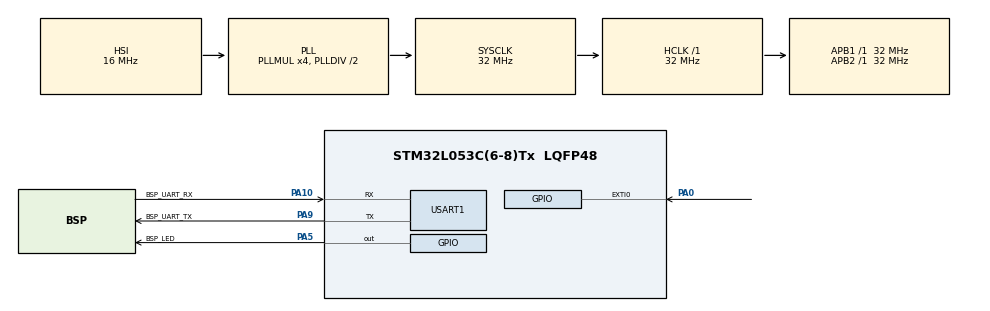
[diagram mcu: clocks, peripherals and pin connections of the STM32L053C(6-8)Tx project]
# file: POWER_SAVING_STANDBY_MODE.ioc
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Mcu.Family=STM32L0
Mcu.Name=STM32L053C(6-8)Tx
Mcu.Package=LQFP48
NVIC.USART1_IRQn=true\:0\:0\:false\:false\:true\:true\:true\:true
PA0.Signal=GPXTI0
PA10.GPIO_Label=BSP_UART_RX
PA10.Mode=Asynchronous
PA10.Signal=USART1_RX
PA13.Mode=Serial_Wire
PA13.Signal=SYS_SWDIO
PA14.Mode=Serial_Wire
PA14.Signal=SYS_SWCLK
PA5.GPIO_Label=BSP_LED
PA5.Signal=GPIO_Output
PA9.GPIO_Label=BSP_UART_TX
PA9.Mode=Asynchronous
PA9.Signal=USART1_TX
PH0-OSC_IN.Mode=HSE-External-Oscillator
PH0-OSC_IN.Signal=RCC_OSC_IN
PH1-OSC_OUT.Mode=HSE-External-Oscillator
PH1-OSC_OUT.Signal=RCC_OSC_OUT
ProjectManager.HeapSize=0x200
ProjectManager.StackSize=0x400
ProjectManager.TargetToolchain=STM32CubeIDE
RCC.AHBFreq_Value=32000000
RCC.APB1Freq_Value=32000000
RCC.APB1TimFreq_Value=32000000
RCC.APB2Freq_Value=32000000
RCC.APB2TimFreq_Value=32000000
RCC.HCLKFreq_Value=32000000
RCC.HSE_VALUE=8000000
RCC.HSI16_VALUE=16000000
RCC.HSI48MClockSelection=RCC_USBCLKSOURCE_HSI48
RCC.HSI48_VALUE=48000000
RCC.HSI_VALUE=16000000
RCC.LSE_VALUE=32768
RCC.MSI_VALUE=2097000
RCC.PLLMUL=RCC_PLLMUL_4
RCC.RTCClockSelectionVirtual=RCC_RTCCLKSOURCE_LSE
RCC.SYSCLKFreq_VALUE=32000000
RCC.SYSCLKSource=RCC_SYSCLKSOURCE_PLLCLK
RCC.VCOOutputFreq_Value=64000000
USART1.VirtualMode-Asynchronous=VM_ASYNC
board=STM32L0538-DISCO

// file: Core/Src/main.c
/* USER CODE BEGIN Header */
/**
 ******************************************************************************
 * @file           : main.c
 * @brief          : Main program body
 ******************************************************************************
 * @attention
 *
 * Copyright (c) 2023 STMicroelectronics.
 * All rights reserved.
 *
 * This software is licensed under terms that can be found in the LICENSE file
 * in the root directory of this software component.
 * If no LICENSE file comes with this software, it is provided AS-IS.
 *
 ******************************************************************************
 */
/* USER CODE END Header */
#include "main.h"

/* USER CODE BEGIN Includes */
#include <stdio.h>
#include <string.h>
/* USER CODE END Includes */

UART_HandleTypeDef huart1;

void SystemClock_Config(void);
static void MX_GPIO_Init(void);
static void MX_USART1_UART_Init(void);

int main(void) {

	/* MCU Configuration--------------------------------------------------------*/

	/* Reset of all peripherals, Initializes the Flash interface and the Systick. */
	HAL_Init();

	/* Configure the system clock */
	SystemClock_Config();

	/* Initialize all configured peripherals */
	MX_GPIO_Init();
	MX_USART1_UART_Init();
	/* USER CODE BEGIN 2 */
	if (__HAL_PWR_GET_FLAG(PWR_FLAG_SB) != RESET) {
		__HAL_PWR_CLEAR_FLAG(PWR_FLAG_SB);

		/** Display the message **/
		char *str = "Wake from the STANDBY MODE...\r\n";
		HAL_UART_Transmit(&huart1, (uint8_t*) str, strlen(str), HAL_MAX_DELAY);

		/** blink the LED **/
		for (int i = 0; i < 20; i++) {
			HAL_GPIO_TogglePin(BSP_LED_GPIO_Port, BSP_LED_Pin);
			HAL_Delay(100);
		}

		/** disable the wake up pin **/
		HAL_PWR_DisableWakeUpPin(PWR_WAKEUP_PIN1); //disable PA0
	}

	/** now enter the stand by mode **/
	/* clear the WU flag */
	__HAL_PWR_CLEAR_FLAG(PWR_FLAG_WU);

	/** Display the message **/
	char *str = "About to enter the STANDBY MODE...\r\n";
	HAL_UART_Transmit(&huart1, (uint8_t*) str, strlen(str), HAL_MAX_DELAY);
	/** blink the LED **/
	for (int i = 0; i < 20; i++) {
		HAL_GPIO_TogglePin(BSP_LED_GPIO_Port, BSP_LED_Pin);
		HAL_Delay(100);
	}
	/** Enable wake up pin **/
	HAL_PWR_EnableWakeUpPin(PWR_WAKEUP_PIN1);

	/** Display the message **/
	char *str2 = "STANDBY MODE is ON...\r\n";
	HAL_UART_Transmit(&huart1, (uint8_t*) str2, strlen(str2), HAL_MAX_DELAY);

	/** Finally enter the Stand by mode **/
	HAL_PWR_EnterSTANDBYMode();
	/* USER CODE END 2 */

	/* Infinite loop */
	while (1) {

	}
}

void SystemClock_Config(void) {
	RCC_OscInitTypeDef RCC_OscInitStruct = { 0 };
	RCC_ClkInitTypeDef RCC_ClkInitStruct = { 0 };
	RCC_PeriphCLKInitTypeDef PeriphClkInit = { 0 };

	/** Configure the main internal regulator output voltage
	 */
	__HAL_PWR_VOLTAGESCALING_CONFIG(PWR_REGULATOR_VOLTAGE_SCALE1);

	/** Initializes the RCC Oscillators according to the specified parameters
	 * in the RCC_OscInitTypeDef structure.
	 */
	RCC_OscInitStruct.OscillatorType = RCC_OSCILLATORTYPE_HSI;
	RCC_OscInitStruct.HSIState = RCC_HSI_ON;
	RCC_OscInitStruct.HSICalibrationValue = RCC_HSICALIBRATION_DEFAULT;
	RCC_OscInitStruct.PLL.PLLState = RCC_PLL_ON;
	RCC_OscInitStruct.PLL.PLLSource = RCC_PLLSOURCE_HSI;
	RCC_OscInitStruct.PLL.PLLMUL = RCC_PLLMUL_4;
	RCC_OscInitStruct.PLL.PLLDIV = RCC_PLLDIV_2;
	if (HAL_RCC_OscConfig(&RCC_OscInitStruct) != HAL_OK) {
		Error_Handler();
	}

	/** Initializes the CPU, AHB and APB buses clocks
	 */
	RCC_ClkInitStruct.ClockType = RCC_CLOCKTYPE_HCLK | RCC_CLOCKTYPE_SYSCLK
			| RCC_CLOCKTYPE_PCLK1 | RCC_CLOCKTYPE_PCLK2;
	RCC_ClkInitStruct.SYSCLKSource = RCC_SYSCLKSOURCE_PLLCLK;
	RCC_ClkInitStruct.AHBCLKDivider = RCC_SYSCLK_DIV1;
	RCC_ClkInitStruct.APB1CLKDivider = RCC_HCLK_DIV1;
	RCC_ClkInitStruct.APB2CLKDivider = RCC_HCLK_DIV1;

	if (HAL_RCC_ClockConfig(&RCC_ClkInitStruct, FLASH_LATENCY_1) != HAL_OK) {
		Error_Handler();
	}
	PeriphClkInit.PeriphClockSelection = RCC_PERIPHCLK_USART1;
	PeriphClkInit.Usart1ClockSelection = RCC_USART1CLKSOURCE_PCLK2;
	if (HAL_RCCEx_PeriphCLKConfig(&PeriphClkInit) != HAL_OK) {
		Error_Handler();
	}
}

static void MX_USART1_UART_Init(void) {

	huart1.Instance = USART1;
	huart1.Init.BaudRate = 115200;
	huart1.Init.WordLength = UART_WORDLENGTH_8B;
	huart1.Init.StopBits = UART_STOPBITS_1;
	huart1.Init.Parity = UART_PARITY_NONE;
	huart1.Init.Mode = UART_MODE_TX_RX;
	huart1.Init.HwFlowCtl = UART_HWCONTROL_NONE;
	huart1.Init.OverSampling = UART_OVERSAMPLING_16;
	huart1.Init.OneBitSampling = UART_ONE_BIT_SAMPLE_DISABLE;
	huart1.AdvancedInit.AdvFeatureInit = UART_ADVFEATURE_NO_INIT;
	if (HAL_UART_Init(&huart1) != HAL_OK) {
		Error_Handler();
	}

}

static void MX_GPIO_Init(void) {
	GPIO_InitTypeDef GPIO_InitStruct = { 0 };

	/* GPIO Ports Clock Enable */
	__HAL_RCC_GPIOH_CLK_ENABLE();
	__HAL_RCC_GPIOA_CLK_ENABLE();

	/*Configure GPIO pin Output Level */
	HAL_GPIO_WritePin(BSP_LED_GPIO_Port, BSP_LED_Pin, GPIO_PIN_RESET);

	/*Configure GPIO pin : PA0 */
	GPIO_InitStruct.Pin = GPIO_PIN_0;
	GPIO_InitStruct.Mode = GPIO_MODE_IT_RISING;
	GPIO_InitStruct.Pull = GPIO_NOPULL;
	HAL_GPIO_Init(GPIOA, &GPIO_InitStruct);

	/*Configure GPIO pin : BSP_LED_Pin */
	GPIO_InitStruct.Pin = BSP_LED_Pin;
	GPIO_InitStruct.Mode = GPIO_MODE_OUTPUT_PP;
	GPIO_InitStruct.Pull = GPIO_NOPULL;
	GPIO_InitStruct.Speed = GPIO_SPEED_FREQ_LOW;
	HAL_GPIO_Init(BSP_LED_GPIO_Port, &GPIO_InitStruct);

}

void Error_Handler(void) {
	__disable_irq();
	while (1) {
	}
}
